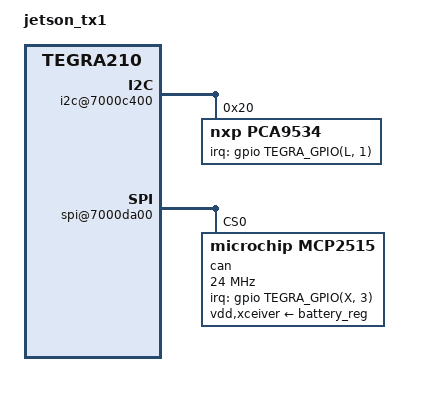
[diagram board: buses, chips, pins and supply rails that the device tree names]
/*
 * arch/arm64/boot/dts/tegra210-tx1-cti-ASG007.dts
 *
 * Copyright (c) 2016, NVIDIA CORPORATION.  All rights reserved.
 *
 * This program is free software; you can redistribute it and/or modify
 * it under the terms of the GNU General Public License as published by
 * the Free Software Foundation; version 2 of the License.
 *
 * This program is distributed in the hope that it will be useful, but WITHOUT
 * ANY WARRANTY; without even the implied warranty of MERCHANTABILITY or
 * FITNESS FOR A PARTICULAR PURPOSE.  See the GNU General Public License for
 * more details.
 *
 */

#include "tegra210-tx1-cti-base.dts"

/ {
	model = "jetson_tx1";
	compatible = "nvidia,jetson-cv", "nvidia,tegra210";
	nvidia,dtsfilename = "tegra210-tx1-cti-ASG007.dts";

	#address-cells = <2>;
	#size-cells = <2>;

	chosen {
		bootloader {
			nvidia,skip-display-init;
		};
	};

	host1x {
		dc@54200000 {
			status = "disabled";
		};

		dsi {
			status = "disabled";
			panel-a-wuxga-8-0 {
				status = "disabled";
			};
			panel-s-wqxga-10-1 {
				status = "disabled";
			};
		};

		sor {
			panel-s-edp-uhdtv-15-6 {
				status = "disabled";
			};
			prod-settings {
				status = "disabled";
			};
		};
	};

	i2c@7000c400 {
		lp8557-backlight-a-wuxga-8-0@2c {
			status = "disabled";
		};
		
		tca9539@74 {
			status = "disabled";
		};
		
		tca9539@77 {
			status = "disabled";
		};
		
		pca9534@20 {
            status = "okay";
			compatible = "nxp,pca9534";
			gpio-controller;
			#gpio-cells = <2>;
			reg = <0x20>;
			interrupt-parent = <&gpio>;
			interrupts = <TEGRA_GPIO(L, 1) 0x0>;
			#interrupt-cells = <2>;
			interrupt-controller;
		};
		
		
	};

	backlight {
		status = "disabled";
		panel-a-wuxga-8-0-bl {
			status = "disabled";
		};
		panel-s-edp-uhdtv-15-6-bl {
			status = "disabled";
		};
	};

	sor {
		status = "disabled";
		prod-settings {
			status = "disabled";
		};
		panel-s-edp-uhdtv-15-6 {
			smartdimmer {
				status = "disabled";
			};
		};
	};
	
	/*spi@7000d400 {
		status = "okay";
		spidev@0 {
			status = "okay";
			compatible = "spidev";
			reg = <0>;
			spi-max-frequency=<12000000>;
		};  
    };*/
	
	/*spi@7000d600 {
		status = "okay";
		spidev@0 {
			status = "okay";
			compatible = "spidev";
			reg = <0>;
			spi-max-frequency=<12000000>;
		};  
    };*/
	
	/*spi@7000d800 {
		status = "okay";
		spidev@0 {
			status = "okay";
			compatible = "spidev";
			reg = <0>;
			spi-max-frequency=<12000000>;
		};  
    };*/
	
	
	spi@7000da00 {
		status = "okay";
		can@0 {
            status = "okay";
            compatible = "microchip,mcp2515";
            reg = <0>;	/* spi chip select 0 */
            clocks = <&tegra_car TEGRA210_CLK_CLK_OUT_2>;
            interrupt-parent = <&gpio>;
                /* the first cell defines the
                    index of the interrupt within the controller, while the second cell is used
                    to specify any of the following flags:
                    - bits[3:0] trigger type and level flags
                    1 = low-to-high edge triggered
                    2 = high-to-low edge triggered
                    4 = active high level-sensitive
                    8 = active low level-sensitive
                */
			interrupts = <TEGRA_GPIO(X, 3) 0x01>; /* GPIO_PX3 /GPIO8/ALS_PROX_INT */
			vdd-supply = <&battery_reg>;
			xceiver-supply = <&battery_reg>;
			spi-max-frequency=<24000000>;
		};
    };
	
	
	
	
};

#include <t210-common-overrides/tegra210-power-dvfs-override-ucm2c.dtsi>

